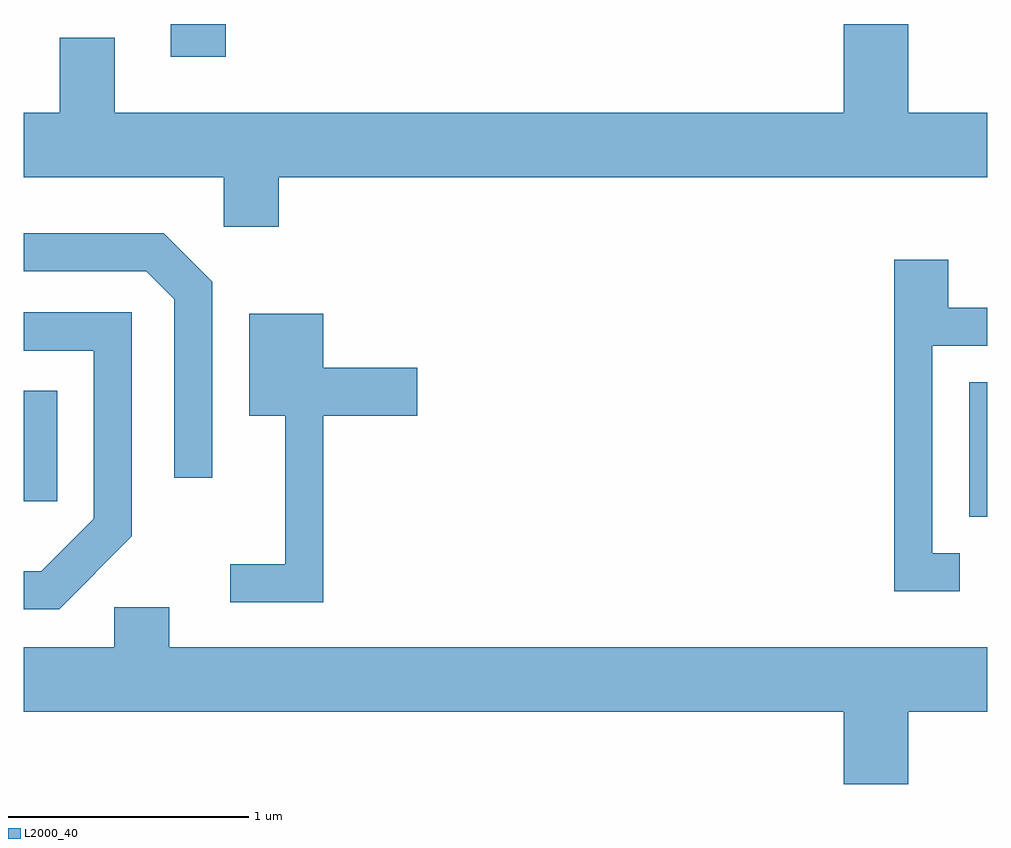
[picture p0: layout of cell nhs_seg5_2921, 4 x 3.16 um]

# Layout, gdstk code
import gdstk
lib = gdstk.Library(unit=1e-6, precision=1e-09)
def R(c, l, rs):  # rectangles x0, y0, x1, y1
    for r in rs: c.add(gdstk.rectangle(r[:2], r[2:], *l))
def P(c, l, *ps):  # polygons
    for p in ps: c.add(gdstk.Polygon(p, *l))
L2000_40 = (2000, 40)

nhs_seg5_2921 = lib.new_cell('nhs_seg5_2921')
R(nhs_seg5_2921, L2000_40, [(275.536,1482.026,275.611,1482.584), (271.611,1482.091,271.749,1482.549), (272.221,1483.936,272.449,1484.072)])
P(nhs_seg5_2921, L2000_40, [(272.669,1483.436),(275.611,1483.436),(275.611,1483.704),(275.284,1483.704),(275.284,1484.072),(275.016,1484.072),(275.016,1483.704),(271.989,1483.704),(271.989,1484.014),(271.761,1484.014),(271.761,1483.704),(271.611,1483.704),(271.611,1483.436),(272.441,1483.436),(272.441,1483.231),(272.669,1483.231)],
  [(272.394,1483.002),(272.192,1483.204),(271.611,1483.204),(271.611,1483.046),(272.119,1483.046),(272.236,1482.929),(272.236,1482.188),(272.394,1482.188)],
  [(275.498,1481.874),(275.384,1481.874),(275.384,1482.736),(275.611,1482.736),(275.611,1482.894),(275.449,1482.894),(275.449,1483.094),(275.226,1483.094),(275.226,1481.716),(275.498,1481.716)],
  [(272.059,1481.944),(272.059,1482.874),(271.611,1482.874),(271.611,1482.716),(271.901,1482.716),(271.901,1482.017),(271.684,1481.799),(271.611,1481.799),(271.611,1481.641),(271.757,1481.641)],
  [(272.854,1482.446),(273.244,1482.446),(273.244,1482.644),(272.854,1482.644),(272.854,1482.869),(272.546,1482.869),(272.546,1482.446),(272.696,1482.446),(272.696,1481.829),(272.468,1481.829),(272.468,1481.671),(272.854,1481.671)],
  [(275.284,1481.216),(275.611,1481.216),(275.611,1481.484),(272.214,1481.484),(272.214,1481.649),(271.986,1481.649),(271.986,1481.484),(271.611,1481.484),(271.611,1481.216),(275.016,1481.216),(275.016,1480.916),(275.284,1480.916)])

lib.write_gds('nhs_seg5_2921.gds')
